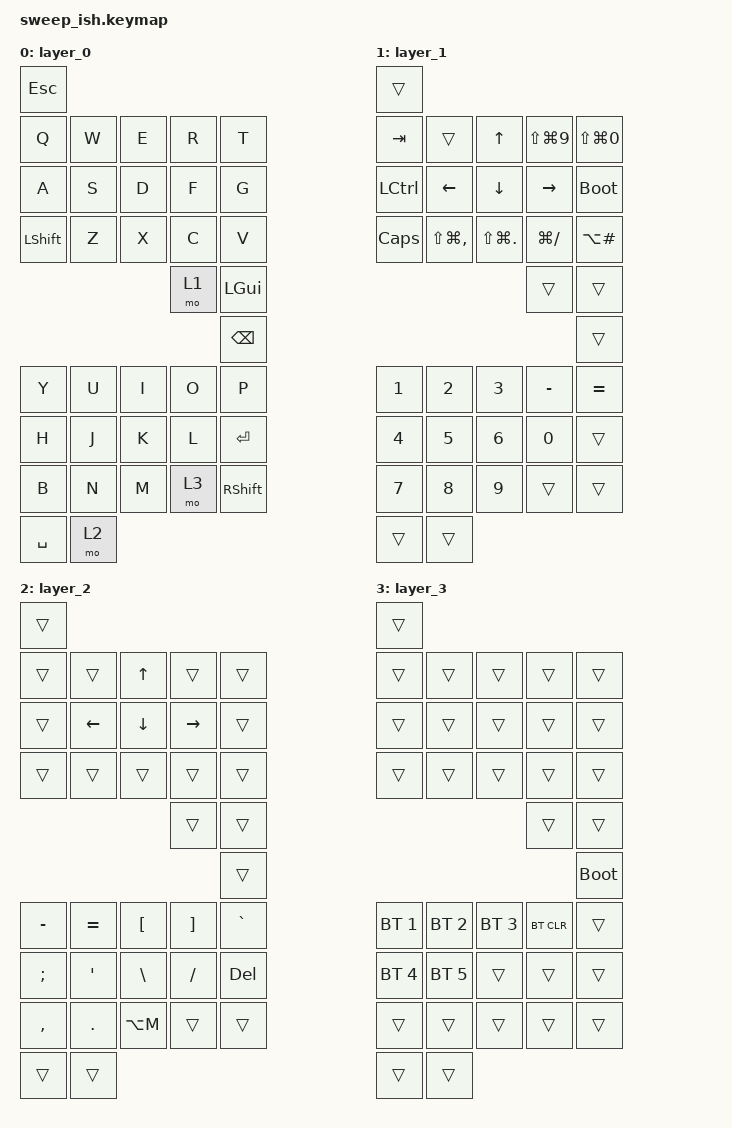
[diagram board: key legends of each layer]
#include <behaviors.dtsi>
#include <dt-bindings/zmk/keys.h>
#include <dt-bindings/zmk/bt.h>


/ {
    keymap {
        compatible = "zmk,keymap";

        layer_0 {
            bindings = <
&kp ESC                                    
&kp Q      &kp W  &kp E  &kp R        &kp T
&kp A      &kp S  &kp D  &kp F        &kp G
&kp LSHFT  &kp Z  &kp X  &kp C        &kp V       
                         &mo 1        &kp LGUI    

                                        &kp BSPC
&kp Y      &kp U        &kp I  &kp O    &kp P
&kp H      &kp J        &kp K  &kp L    &kp ENTER
&kp B      &kp N        &kp M  &mo 3    &kp RSHFT
&kp SPACE  &mo 2
            >;
        };

        layer_1 {
            bindings = <
&trans                                                                           
&kp TAB    &trans             &kp UP           &kp LS(LG(N9))  &kp LS(LG(N0))   
&kp LCTRL  &kp LEFT           &kp DOWN         &kp RIGHT       &bootloader            
&kp CAPS   &kp LS(LG(COMMA))  &kp LS(LG(DOT))  &kp LG(FSLH)    &kp LA(POUND)     
                                               &trans          &trans           
                                   &trans
 &kp N1  &kp N2  &kp N3  &kp MINUS  &kp EQUAL
 &kp N4  &kp N5  &kp N6  &kp N0     &trans
 &kp N7  &kp N8  &kp N9  &trans     &trans
  &trans  &trans

            >;
        };

        layer_2 {
            bindings = <
&trans                                       
&trans  &trans    &kp UP    &trans     &trans    
&trans  &kp LEFT  &kp DOWN  &kp RIGHT  &trans
&trans  &trans    &trans    &trans     &trans   
                            &trans     &trans   

                                               &trans
&kp MINUS  &kp EQUAL  &kp LBKT   &kp RBKT  &kp GRAVE
&kp SEMI   &kp SQT    &kp BSLH   &kp FSLH  &kp DEL
&kp COMMA  &kp DOT    &kp LA(M)  &trans    &trans
&trans     &trans

            >;
        };
        layer_3 {
            bindings = <
&trans                                          
&trans  &trans    &trans    &trans     &trans   
&trans  &trans    &trans    &trans     &trans    
&trans  &trans    &trans    &trans     &trans  
                            &trans     &trans    

                                                                &bootloader
 &bt BT_SEL 1     &bt BT_SEL 2     &bt BT_SEL 3   &bt BT_CLR    &trans
 &bt BT_SEL 4     &bt BT_SEL 5     &trans         &trans        &trans
&trans           &trans           &trans         &trans        &trans
&trans           &trans
            >;
        };
    };
};
